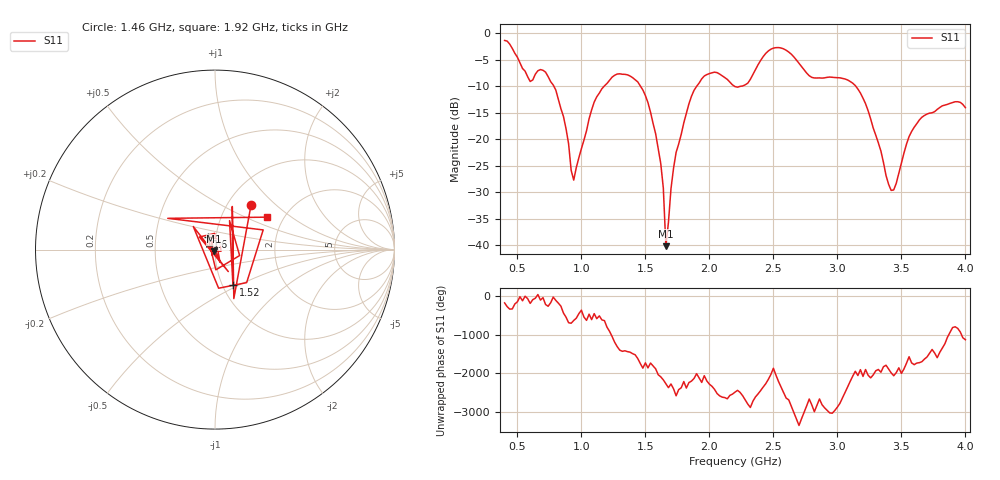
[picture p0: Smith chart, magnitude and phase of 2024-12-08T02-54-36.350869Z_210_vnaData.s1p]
!Created with skrf (http://scikit-rf.org).
# Hz S RI R 50.0
!freq ReS11 ImS11
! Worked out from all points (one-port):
!   181 points, 400 MHz to 4 GHz, reference 50 ohm
!   lowest |S11| = -40.1 dB at 1.66 GHz (marker M1), VSWR 1.02, Z = 49.6 - j0.89 ohm
!   |S11| at or under -10 dB: 785.2 MHz to 1.177 GHz (391.9 MHz wide, 39.9 % of centre); 1.463 GHz to 1.9 GHz (437.8 MHz wide, 26 % of centre); 3.144 GHz to end of sweep (the widest 3 of 4)
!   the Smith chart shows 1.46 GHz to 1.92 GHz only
!   S11 on the Smith chart (normalised r, x): 1.46 GHz: 1.28, +0.71; 1.52 GHz: 1.12, -0.47; 1.6 GHz: 0.91, +0.13; 1.92 GHz: 1.64, +0.67
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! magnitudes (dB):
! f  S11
! 400 MHz  -1.3
! 600 MHz  -9.1
! 720 MHz  -7.3
! 860 MHz  -15.7
! 940 MHz  -27.7
! 1.1 GHz  -13.0
! 1.3 GHz  -7.6
! 1.46 GHz  -9.9
! 1.52 GHz  -13.1
! 1.6 GHz  -21.7
! 1.64 GHz  -29.2
! 1.66 GHz  -40.1
! 1.72 GHz  -25.4
! 1.76 GHz  -20.9
! 1.84 GHz  -13.3
! 1.92 GHz  -9.4
! 2.04 GHz  -7.3
! 2.2 GHz  -10.1
! 2.3 GHz  -9.4
! 2.48 GHz  -3.0
! 2.66 GHz  -4.5
! 2.8 GHz  -8.3
! 3.1 GHz  -9.1
! 3.22 GHz  -13.3
! 3.42 GHz  -29.6
! 3.56 GHz  -19.5
! 3.82 GHz  -13.7
! 4 GHz  -14.0
